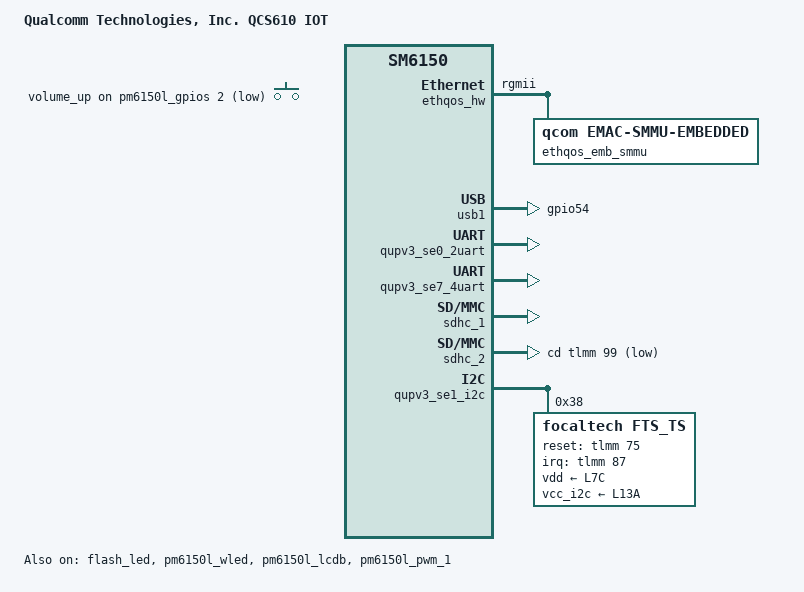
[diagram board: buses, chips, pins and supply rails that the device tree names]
#include <dt-bindings/gpio/gpio.h>
#include <dt-bindings/iio/qcom,spmi-vadc.h>
#include <dt-bindings/input/input.h>

#include <dt-bindings/clock/qcom,rpmh.h>
#include <dt-bindings/clock/qcom,gcc-sm6150.h>
#include <dt-bindings/clock/qcom,camcc-sm6150.h>
#include <dt-bindings/clock/qcom,dispcc-sm6150.h>
#include <dt-bindings/clock/qcom,gpucc-sm6150.h>
#include <dt-bindings/iio/qti_power_supply_iio.h>

#include "camera/qcs610-camera-sensor-opk.dtsi"

#include "sm6150-audio.dtsi"
#include "sm6150-ext-codec-audio-overlay.dtsi"
#include "sm6150-external-codec.dtsi"

/ {
	model = "Qualcomm Technologies, Inc. QCS610 IOT";
	compatible = "qcom,qcs610-iot", "qcom,qcs610", "qcom,iot";
	qcom,board-id = <32 0>;
};

&pm6150l_gpios {
	key_vol_up {
		key_vol_up_default: key_vol_up_default {
			pins = "gpio2";
			function = "normal";
			input-enable;
			bias-pull-up;
			power-source = <0>;
		};
	};

	irled {
		irled_pwm: irled_pwm_default {
			pins = "gpio6";
			function = "func1";
			qcom,drive-strength = <2>;
			power-source = <0>;
			bias-disable;
			output-low;
		};
	};

	cam_sensor_dvdd {
		cam_sensor_dvdd_default: cam_sensor_dvdd_default {
			pins = "gpio3";
			function = "normal";
			output-low;
			power-source = <0>;
		};
	};

	cam_sensor_1_vana {
		cam_sensor_1_vana_default: cam_sensor_1_vana_default {
			pins = "gpio8";
			function = "normal";
			output-low;
			power-source = <0>;
		};
	};

	cam_sensor_0_vana {
		cam_sensor_0_vana_default: cam_sensor_0_vana_default {
			pins = "gpio9";
			function = "normal";
			output-low;
			power-source = <0>;
		};
	};

	cam_sensor_1_2_vana {
		cam_sensor_1_2_vana_default: cam_sensor_1_2_vana_default {
			pins = "gpio4";
			function = "normal";
			output-low;
			power-source = <0>;
		};
	};
};

&soc {
	gpio_keys {
		compatible = "gpio-keys";
		label = "gpio-keys";

		pinctrl-names = "default";
		pinctrl-0 = <&key_vol_up_default>;

		vol_up {
			label = "volume_up";
			gpios = <&pm6150l_gpios 2 GPIO_ACTIVE_LOW>;
			linux,input-type = <1>;
			linux,code = <KEY_VOLUMEUP>;
			linux,can-disable;
			debounce-interval = <15>;
			gpio-key,wakeup;
		};
	};

	mtp_batterydata: qcom,battery-data {
		qcom,batt-id-range-pct = <15>;
		#include "qg-batterydata-alium-3600mah.dtsi"
		#include "qg-batterydata-mlp356477-2800mah.dtsi"
	};

	mtl_rx_setup: rx-queues-config {
		snps,rx-queues-to-use = <4>;
		snps,rx-sched-sp;

		queue0 {
			snps,dcb-algorithm;
			snps,map-to-dma-channel = <0x0>;
			snps,route-up;
			snps,priority = <0x1>;
		};

		queue1 {
			snps,dcb-algorithm;
			snps,map-to-dma-channel = <0x1>;
			snps,route-ptp;
		};

		queue2 {
			snps,avb-algorithm;
			snps,map-to-dma-channel = <0x2>;
			snps,route-avcp;
		};

		queue3 {
			snps,avb-algorithm;
			snps,map-to-dma-channel = <0x3>;
			snps,priority = <0xC>;
		};
	};

	mtl_tx_setup: tx-queues-config {
		snps,tx-queues-to-use = <4>;
		snps,tx-sched-sp;
		queue0 {
			snps,dcb-algorithm;
		};

		queue1 {
			snps,dcb-algorithm;
		};

		queue2 {
			snps,avb-algorithm;
			snps,send_slope = <0x1000>;
			snps,idle_slope = <0x1000>;
			snps,high_credit = <0x3E800>;
			snps,low_credit = <0xFFC18000>;
		};

		queue3 {
			snps,avb-algorithm;
			snps,send_slope = <0x1000>;
			snps,idle_slope = <0x1000>;
			snps,high_credit = <0x3E800>;
			snps,low_credit = <0xFFC18000>;
		};
	};

	ethqos_hw: qcom,ethernet@20000 {
		compatible = "qcom,stmmac-ethqos";
		qcom,arm-smmu;
		emac-core-version = <0x20030001>;
		reg = <0x20000 0x10000>,
			<0x36000 0x100>,
			<0x3D00000 0x300000>;
		reg-names = "stmmaceth", "rgmii","tlmm-central-base";
		clocks = <&gcc GCC_EMAC_AXI_CLK>,
			<&gcc GCC_EMAC_SLV_AHB_CLK>,
			<&gcc GCC_EMAC_PTP_CLK>,
			<&gcc GCC_EMAC_RGMII_CLK>;
		clock-names = "stmmaceth", "pclk", "ptp_ref", "rgmii";
		snps,ptp-ref-clk-rate = <250000000>;
		snps,ptp-req-clk-rate = <96000000>;
		interrupts-extended = <&intc 0 660 4>, <&intc 0 700 4>,
			<&tlmm 76 2>, <&intc 0 668 4>, <&intc 0 669 4>;
		interrupt-names = "macirq", "eth_lpi",
			"phy-intr", "ptp_pps_irq_0", "ptp_pps_irq_1";

		snps,tso;
		snps,pbl = <32>;
		rx-fifo-depth = <16384>;
		tx-fifo-depth = <20480>;
		snps,mtl-rx-config = <&mtl_rx_setup>;
		snps,mtl-tx-config = <&mtl_tx_setup>;
		snps,reset-gpios = <&tlmm 36 GPIO_ACTIVE_HIGH>;
		qcom,phy-intr-redirect = <&tlmm 76 GPIO_ACTIVE_LOW>;
		gdsc_emac-supply = <&emac_gdsc>;

		pinctrl-names = "dev-emac-mdc",
			"dev-emac-mdio",
			"dev-emac-rgmii_txd0_state",
			"dev-emac-rgmii_txd1_state",
			"dev-emac-rgmii_txd2_state",
			"dev-emac-rgmii_txd3_state",
			"dev-emac-rgmii_txc_state",
			"dev-emac-rgmii_tx_ctl_state",
			"dev-emac-rgmii_rxd0_state",
			"dev-emac-rgmii_rxd1_state",
			"dev-emac-rgmii_rxd2_state",
			"dev-emac-rgmii_rxd3_state",
			"dev-emac-rgmii_rxc_state",
			"dev-emac-rgmii_rx_ctl_state",
			"dev-emac-phy_intr",
			"dev-emac-phy_reset_state",
			"dev-emac_pin_pps_0";

		pinctrl-0 = <&emac_mdc>;
		pinctrl-1 = <&emac_mdio>;

		pinctrl-2 = <&emac_rgmii_txd0>;
		pinctrl-3 = <&emac_rgmii_txd1>;
		pinctrl-4 = <&emac_rgmii_txd2>;
		pinctrl-5 = <&emac_rgmii_txd3>;
		pinctrl-6 = <&emac_rgmii_txc>;
		pinctrl-7 = <&emac_rgmii_tx_ctl>;

		pinctrl-8 = <&emac_rgmii_rxd0>;
		pinctrl-9 = <&emac_rgmii_rxd1>;
		pinctrl-10 = <&emac_rgmii_rxd2>;
		pinctrl-11 = <&emac_rgmii_rxd3>;
		pinctrl-12 = <&emac_rgmii_rxc>;
		pinctrl-13 = <&emac_rgmii_rx_ctl>;

		pinctrl-14 = <&emac_phy_intr>;
		pinctrl-15 = <&emac_phy_reset_state>;
		pinctrl-16 = <&emac_pin_pps_0>;

		snps,reset-delays-us = <0 11000 70000>;
		vreg_emac_phy-supply = <&L19A>;
		qcom,phyad_change;
		phy-mode = "rgmii";
		ethqos_emb_smmu: ethqos_emb_smmu {
			compatible = "qcom,emac-smmu-embedded";
			iommus = <&apps_smmu 0x1C0 0x0>;
			qcom,iommu-dma = "fastmap";
			qcom,iommu-dma-addr-pool = <0x80000000 0x40000000>;
		};

		rgmii-io-macro-info {
			config-cdr-en = <1>;
			mclk-gating-en = <1>;
			cdr-fine-phase = <1>;
			skip-calc-traffic = <1>;
			data-divide-clk-sel = <0>;
			prg-rclk-dly = <1000>;
			loopback-en = <1>;
			rx-prog-swap = <1>;
			tx-clk-phase-shift-en = <1>;
			dll-clock-dis = <0>;
			mclk-freq-calc = <0x1A>;
			ddr-traffic-init-sel = <0>;
			ddr-traffic-init-sw = <0>;
			ddr-cal-en = <0>;
			tcx0-cycles-dly-line = <64>;
			tcx0-cycles-cnt = <4>;
			test-ctl = <0xC1800000>;
			usr-ctl = <0x2C010800>;
			pps-create = <1>;
			l3-master-dev = <1>;
			ipv6-wq = <1>;
		};

	};
};

&tlmm {
	usb_typea_host {
		usb_typea_host_en: usb_typea_host_en {
			mux {
				pins = "gpio54";
				function = "gpio";
			};

			config {
				pins = "gpio54";
				drive-strength = <2>;
				bias-disable;
				output-high;
			};
		};
	};
};

&emac_phy_intr {
	mux {
		pins = "gpio76";
		function = "gpio";
	};

	config {
		pins = "gpio76";
		bias-disable;  /* NO pull */
		drive-strength = <2>;
	};
};

&emac_phy_reset_state {
	mux {
		pins = "gpio36";
		function = "gpio";
	};

	config {
		pins = "gpio36";
		bias-pull-up;
		drive-strength = <16>;
	};
};

&emac_pin_pps_0 {
	mux {
		pins = "gpio77";
		function = "rgmii_sync";
	};

	config {
		pins = "gpio77";
		bias-pull-up;
		drive-strength = <16>;
	};
};

&flash_led {
	status = "ok";
};

&pm6150l_wled {
	qcom,string-cfg= <1>;
	qcom,leds-per-string = <7>;
	status = "ok";
	qcom,cabc-sel = <0>;
	qcom,fs-current-limit = <20000>;
	default-brightness = <2000>;
};

&pm6150l_lcdb {
	status = "ok";
};

&pm6150l_pwm_1 {
	status = "okay";
};

&usb1 {
	status = "okay";
	pinctrl-names = "default";
	pinctrl-0 = <&usb_typea_host_en>;
};

&pm6150_qg {
	qcom,battery-data = <&mtp_batterydata>;
	qcom,qg-iterm-ma = <100>;
	qcom,hold-soc-while-full;
	qcom,linearize-soc;
	qcom,cl-feedback-on;
};

&pm6150_pdphy {
	#io-channel-cells = <1>;
	io-channels = <&pm6150_charger PSY_IIO_PD_ACTIVE>,
		      <&pm6150_charger PSY_IIO_TYPEC_CC_ORIENTATION>,
		      <&pm6150_charger PSY_IIO_CONNECTOR_TYPE>,
		      <&pm6150_charger PSY_IIO_TYPEC_POWER_ROLE>,
		      <&pm6150_charger PSY_IIO_PD_USB_SUSPEND_SUPPORTED>,
		      <&pm6150_charger PSY_IIO_TYPEC_SRC_RP>,
		      <&pm6150_charger PSY_IIO_PD_IN_HARD_RESET>,
		      <&pm6150_charger PSY_IIO_PD_CURRENT_MAX>,
		      <&pm6150_charger PSY_IIO_PR_SWAP>,
		      <&pm6150_charger PSY_IIO_PD_VOLTAGE_MIN>,
		      <&pm6150_charger PSY_IIO_PD_VOLTAGE_MAX>,
		      <&pm6150_charger PSY_IIO_USB_REAL_TYPE>,
		      <&pm6150_charger PSY_IIO_TYPEC_MODE>,
		      <&pm6150_charger PSY_IIO_PE_START>;
	io-channel-names = "pd_active",
			   "typec_cc_orientation",
			   "connector_type",
			   "typec_power_role",
			   "pd_usb_suspend_supported",
			   "typec_src_rp",
			   "pd_in_hard_reset",
			   "pr_current_max",
			   "pr_swap",
			   "pd_voltage_min",
			   "pd_voltage_max",
			   "real_type",
			   "typec_mode",
			   "pe_start";
};

&pm6150_charger {
	depends-on-supply = <&pm6150_vadc>;
	#io-channel-cells = <1>;
	io-channels = <&pm6150_vadc ADC5_USB_IN_V_16>,
		      <&pm6150_vadc ADC5_USB_IN_I>,
		      <&pm6150_vadc ADC5_CHG_TEMP>,
		      <&pm6150_vadc ADC5_DIE_TEMP>,
		      <&pm6150_vadc ADC5_AMUX_THM4_100K_PU>,
		      <&pm6150_vadc ADC5_SBUx>,
		      <&pm6150_vadc ADC5_VPH_PWR>,
		      <&pm6150_qg PSY_IIO_CHARGE_FULL>,
		      <&pm6150_qg PSY_IIO_CHARGE_FULL_DESIGN>,
		      <&pm6150_qg PSY_IIO_RESISTANCE_ID>,
		      <&pm6150_qg PSY_IIO_VOLTAGE_NOW>,
		      <&pm6150_qg PSY_IIO_TEMP>,
		      <&pm6150_qg PSY_IIO_CAPACITY>,
		      <&pm6150_qg PSY_IIO_VOLTAGE_OCV>,
		      <&pm6150_qg PSY_IIO_VOLTAGE_AVG>,
		      <&pm6150_qg PSY_IIO_DEBUG_BATTERY>,
		      <&pm6150_qg PSY_IIO_REAL_CAPACITY>,
		      <&pm6150_qg PSY_IIO_CC_SOC>,
		      <&pm6150_qg PSY_IIO_CURRENT_NOW>,
		      <&pm6150_qg PSY_IIO_VOLTAGE_MAX>,
		      <&pm6150_qg PSY_IIO_CHARGE_COUNTER>,
		      <&pm6150_qg PSY_IIO_CYCLE_COUNT>,
		      <&pm6150_qg PSY_IIO_TIME_TO_FULL_NOW>;
	io-channel-names = "usb_in_voltage",
			   "usb_in_current",
			   "chg_temp",
			   "die_temp",
			   "conn_temp",
			   "sbux_res",
			   "vph_voltage",
			   "charge_full",
			   "charge_full_design",
			   "resistance_id",
			   "voltage_now",
			   "temp",
			   "capacity",
			   "voltage_ocv",
			   "voltage_avg",
			   "debug_battery",
			   "real_capacity",
			   "cc_soc",
			   "current_now",
			   "voltage_max",
			   "charge_counter",
			   "cycle_count",
			   "time_to_full_now";
	qcom,battery-data = <&mtp_batterydata>;
	qcom,auto-recharge-soc = <98>;
	qcom,step-charging-enable;
	qcom,sw-jeita-enable;
	qcom,fcc-stepping-enable;
	qcom,suspend-input-on-debug-batt;
	qcom,sec-charger-config = <0>;
	qcom,thermal-mitigation = <4200000 3500000 3000000
			2500000 2000000 1500000 1000000 500000>;
	dpdm-supply = <&qusb_phy0>;
	qcom,charger-temp-max = <800>;
	qcom,smb-temp-max = <800>;
};

&usb0 {
	qcom,interconnect-values-nom = /* NOMINAL Votes */
						<1000000 2500000>,
						<0 2400>,
						<0 40000>;
	qcom,interconnect-values-svs = /* SVS Votes */
						<240000 700000>,
						<0 2400>,
						<0 40000>;
	extcon = <&pm6150_pdphy>, <&pm6150_charger>, <&eud>;

	#io-channel-cells = <1>;
	io-channels= <&pm6150_charger PSY_IIO_USB_REAL_TYPE>;
	io-channel-names = "chg_type";
};

&qupv3_se0_2uart {
	status = "ok";
};

&qupv3_se7_4uart {
	status = "ok";
};

&pil_camera_mem {
	reg = <0x0 0x8f800000 0x0 0x500000>;
};

&pil_modem_mem {
	reg = <0x0 0x8fd00000 0x0 0x3100000>;
};

&msm_gpu {
	/delete-node/qcom,gpu-mempools;
};

&sdhc_1 {
	vdd-supply = <&pm6150l_l11>;
	qcom,vdd-voltage-level = <2950000 2950000>;
	qcom,vdd-current-level = <0 570000>;

	vdd-io-supply = <&pm6150_l12>;
	qcom,vdd-io-always-on;
	qcom,vdd-io-lpm-sup;
	qcom,vdd-io-voltage-level = <1800000 1800000>;
	qcom,vdd-io-current-level = <0 325000>;

	pinctrl-names = "default", "sleep";
	pinctrl-0 = <&sdc1_on>;
	pinctrl-1 = <&sdc1_off>;

	status = "ok";
};

&sdhc_2 {
	vdd-supply = <&pm6150l_l9>;
	qcom,vdd-voltage-level = <2950000 2950000>;
	qcom,vdd-current-level = <0 800000>;

	vdd-io-supply = <&pm6150l_l6>;
	qcom,vdd-io-voltage-level = <1800000 3100000>;
	qcom,vdd-io-current-level = <0 22000>;

	pinctrl-names = "default", "sleep";
	pinctrl-0 = <&sdc2_on>;
	pinctrl-1 = <&sdc2_off>;

	cd-gpios = <&tlmm 99 GPIO_ACTIVE_LOW>;

	status = "ok";
};

&L16A {
	regulator-max-microvolt = <3304000>;
};

&L19A {
	regulator-max-microvolt = <3304000>;
};

&L4C {
	regulator-max-microvolt = <2912000>;
};

&L5C {
	regulator-max-microvolt = <2912000>;
};

&L13A {
	regulator-always-on;
};

&L7C {
	regulator-always-on;
};

&L10A {
	regulator-always-on;
};

&L14A {
	regulator-always-on;
};

&sde_dp {
	/delete-property/ reg;
	/delete-property/ reg-names;
	/delete-property/ qcom,mux-sel-gpio;
	/delete-property/ com,usbplug-cc-gpio;
	/delete-property/ pinctrl-names;
	/delete-property/ pinctrl-0;
	/delete-property/ pinctrl-1;
	/delete-property/ pinctrl-2;
	/delete-property/ pinctrl-3;
	/delete-property/ pinctrl-4;
	/delete-property/ qcom,dp-usbpd-detection;

	qcom,pll-revision = "14nm";
	qcom,mst-enable;
	qcom,dp-gpio-aux-switch;
	qcom,dp-hpd-gpio = <&tlmm 89 0>;

	vd11p8-supply = <&pm6150_l10>;
	gdsc-supply = <&mdss_core_gdsc>;

	#clock-cells = <1>;
	reg = <0xae90000 0x0f4>,
		<0xae90200 0x0c0>,
		<0xae90400 0x5e0>,
		<0xae90a00 0x098>,
		<0x88e9000 0x17c>,
		<0x88e9400 0x10c>,
		<0x88e9800 0x10c>,
		<0xaf02000 0x1a0>,
		<0x780000 0x621c>,
		<0x88e9c00 0x200>,
		<0xaee1000 0x34>,
		<0x1fcb200 0x50>,
		<0xae91000 0x098>,
		<0xaf03000 0x8>;

	reg-names = "dp_ahb", "dp_aux", "dp_link",
		"dp_p0", "dp_phy", "dp_ln_tx0", "dp_ln_tx1",
		"dp_mmss_cc", "qfprom_physical", "dp_pll",
		"hdcp_physical", "dp_tcsr","dp_p1", "gdsc";

	pinctrl-names = "mdss_dp_hpd_active";
	pinctrl-0 = <&sde_dp_hotplug_tlmm>;

	qcom,ctrl-supply-entries {
		qcom,ctrl-supply-entry@1 {
			reg = <1>;
			qcom,supply-name = "vdda-1p8";
			qcom,supply-min-voltage = <1800000>;
			qcom,supply-max-voltage = <1832000>;
			qcom,supply-enable-load = <21800>;
			qcom,supply-disable-load = <0>;
		};
	};

	qcom,pll-supply-entries {
		#address-cells = <1>;
		#size-cells = <0>;

		qcom,pll-supply-entry@0 {
			reg = <0>;
			qcom,supply-name = "gdsc";
			qcom,supply-min-voltage = <0>;
			qcom,supply-max-voltage = <0>;
			qcom,supply-enable-load = <0>;
			qcom,supply-disable-load = <0>;
		};
	};
};

&mdss_mdp {
	connectors = <&smmu_sde_unsec &sde_dsi &sde_rscc &sde_wb &sde_dp>;
};

&dsi_ili9881c_720p_video {
	qcom,panel-supply-entries = <&dsi_panel_pwr_supply>;
	qcom,mdss-dsi-bl-pmic-control-type = "bl_ctrl_wled";
	qcom,mdss-dsi-bl-min-level = <1>;
	qcom,mdss-dsi-bl-max-level = <4095>;
	qcom,platform-reset-gpio = <&tlmm 91 0>;
};

&ts_int_active {
	mux {
		pins = "gpio87";
	};

	config {
		pins = "gpio87";
	};
};

&ts_int_suspend {
	mux {
		pins = "gpio87";
	};

	config {
		pins = "gpio87";
	};
};

&ts_reset_active {
	mux {
		pins = "gpio75";
	};

	config {
		pins = "gpio75";
	};
};

&ts_reset_suspend {
	mux {
		pins = "gpio75";
	};

	config {
		pins = "gpio75";
	};
};

&ts_release {
	mux {
		pins = "gpio87", "gpio75";
	};

	config {
		pins = "gpio87", "gpio75";
	};
};

&sde_dp_hotplug_tlmm {
	mux {
		pins = "gpio89";
	};

	config {
		pins = "gpio89";
	};
};

&qupv3_se1_i2c {
	#address-cells = <1>;
	#size-cells = <0>;

	status = "ok";
	qcom,i2c-touch-active = "focaltech,fts_ts";

	focaltech@38 {
		compatible = "focaltech,fts_ts";
		reg = <0x38>;
		interrupt-parent = <&tlmm>;
		interrupts = <87 0x2008>;
		focaltech,reset-gpio = <&tlmm 75 0x0>;
		focaltech,irq-gpio = <&tlmm 87 0x2008>;
		focaltech,max-touch-number = <5>;
		focaltech,display-coords = <0 0 720 1280>;

		vdd-supply = <&L7C>;
		vcc_i2c-supply = <&L13A>;

		pinctrl-names = "pmx_ts_active", "pmx_ts_suspend",
			"pmx_ts_release";
		pinctrl-0 = <&ts_int_active &ts_reset_active>;
		pinctrl-1 = <&ts_int_suspend &ts_reset_suspend>;
		pinctrl-2 = <&ts_release>;

		panel = <&dsi_ili9881c_720p_video>;
	};
};
